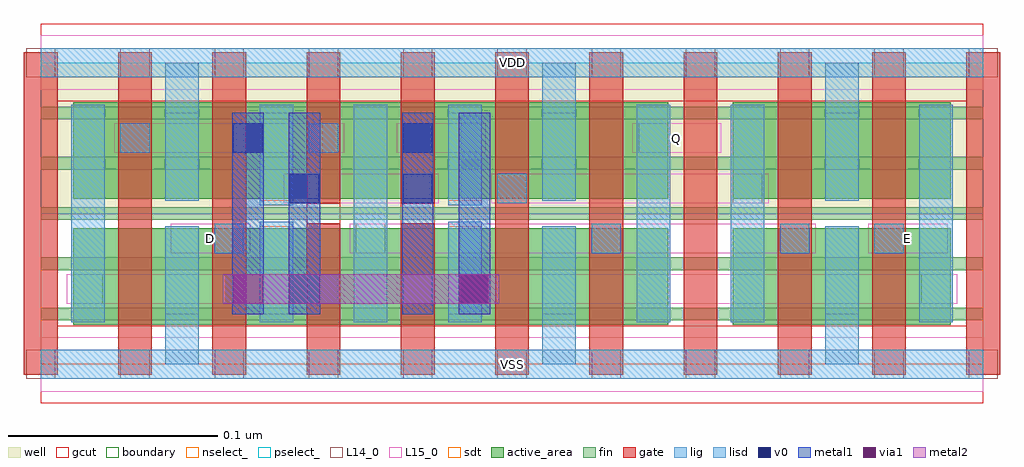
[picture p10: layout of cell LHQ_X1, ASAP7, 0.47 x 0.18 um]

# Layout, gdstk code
import gdstk
lib = gdstk.Library(unit=1e-6, precision=2.5e-10)
def R(c, l, rs):  # rectangles x0, y0, x1, y1
    for r in rs: c.add(gdstk.rectangle(r[:2], r[2:], *l))
def A(c, l, x, y, w, h, nx, ny, dx, dy):  # array of equal rectangles
    R(c, l, [(x+i*dx, y+j*dy, x+i*dx+w, y+j*dy+h) for i in range(nx) for j in range(ny)])
well = (1, 0)
fin = (2, 0)
gate = (7, 0)
gcut = (10, 0)
active_area = (11, 0)
nselect_ = (12, 0)
pselect_ = (13, 0)
L14_0 = (14, 0)
L15_0 = (15, 0)
lig = (16, 0)
lisd = (17, 0)
v0 = (18, 0)
metal1 = (19, 0)
metal2 = (20, 0)
via1 = (21, 0)
sdt = (88, 0)
boundary = (100, 0)

lhq_x1 = lib.new_cell('LHQ_X1')
R(lhq_x1, well, [(0,0.072,0.45,0.144)])
A(lhq_x1, fin, 0, 0.021, 0.45, 0.006, 1, 5, 0, 0.024)
A(lhq_x1, gate, -0.008, -0.005, 0.016, 0.154, 3, 1, 0.045, 0)
A(lhq_x1, gate, 0.217, -0.005, 0.016, 0.154, 6, 1, 0.045, 0)
R(lhq_x1, gate, [(0.127,-0.005,0.143,0.067), (0.172,-0.005,0.188,0.067), (0.127,0.077,0.143,0.149), (0.172,0.077,0.188,0.149)])
R(lhq_x1, gcut, [(0,-0.0185,0.45,0.0185), (-0.008,-0.005,0.008,0.149), (0.442,-0.005,0.458,0.149), (0.127,0.067,0.143,0.077), (0.172,0.067,0.188,0.077), (0,0.1255,0.45,0.1625)])
A(lhq_x1, active_area, 0.0155, 0.019, 0.059, 0.046, 6, 2, 0.045, 0.06)
R(lhq_x1, active_area, [(0.3305,0.019,0.3895,0.065), (0.3755,0.019,0.4345,0.065), (0.3305,0.079,0.3895,0.125), (0.3755,0.079,0.4345,0.125)])
R(lhq_x1, nselect_, [(0,0,0.45,0.072)])
R(lhq_x1, pselect_, [(0,0.072,0.45,0.144)])
A(lhq_x1, L14_0, -0.007, -0.007, 0.014, 0.014, 11, 2, 0.045, 0.144)
R(lhq_x1, L14_0, [(0.0155,0.029,0.0295,0.043), (0.128,0.029,0.142,0.043), (0.173,0.029,0.187,0.043), (0.4205,0.029,0.4345,0.043), (0.083,0.053,0.097,0.067), (0.1505,0.053,0.1645,0.067), (0.263,0.053,0.277,0.067), (0.353,0.053,0.367,0.067), (0.398,0.053,0.412,0.067), (0.218,0.077,0.232,0.091), (0.3305,0.077,0.3445,0.091), (0.038,0.101,0.052,0.115), (0.128,0.101,0.142,0.115), (0.173,0.101,0.187,0.115), (0.2855,0.101,0.2995,0.115)])
R(lhq_x1, L15_0, [(0,-0.013,0.45,0.013), (0.0125,0.029,0.145,0.043), (0.17,0.029,0.4375,0.043), (0.062,0.053,0.1,0.067), (0.1475,0.053,0.37,0.067), (0.395,0.053,0.433,0.067), (0.116,0.077,0.19,0.091), (0.215,0.077,0.3475,0.091), (0.035,0.101,0.145,0.115), (0.17,0.101,0.2125,0.115), (0.2825,0.101,0.325,0.115), (0,0.131,0.45,0.157)])
R(lhq_x1, lig, [(0,-0.007,0.45,0.007), (0.128,0.029,0.142,0.043), (0.173,0.029,0.187,0.043), (0.083,0.053,0.097,0.067), (0.263,0.053,0.277,0.067), (0.353,0.053,0.367,0.067), (0.398,0.053,0.412,0.067), (0.218,0.077,0.232,0.091), (0.038,0.101,0.052,0.115), (0.128,0.101,0.142,0.115), (0.173,0.101,0.187,0.115), (0,0.137,0.45,0.151)])
R(lhq_x1, lisd, [(0.0595,0,0.0755,0.066), (0.0595,0,0.0755,0.066), (0.2395,0,0.2555,0.066), (0.2395,0,0.2555,0.066), (0.3745,0,0.3905,0.066), (0.3745,0,0.3905,0.066), (0.0145,0.02,0.0305,0.124), (0.1045,0.02,0.1205,0.068), (0.1045,0.02,0.1205,0.068), (0.1495,0.02,0.1655,0.124), (0.1495,0.02,0.1655,0.124), (0.1945,0.02,0.2105,0.068), (0.1945,0.02,0.2105,0.068), (0.2845,0.02,0.3005,0.124), (0.3295,0.02,0.3455,0.124), (0.4195,0.02,0.4355,0.124), (0.1045,0.076,0.1205,0.124), (0.1045,0.076,0.1205,0.124), (0.1945,0.076,0.2105,0.124), (0.1945,0.076,0.2105,0.124), (0.0595,0.078,0.0755,0.144), (0.0595,0.078,0.0755,0.144), (0.2395,0.078,0.2555,0.144), (0.2395,0.078,0.2555,0.144), (0.3745,0.078,0.3905,0.144), (0.3745,0.078,0.3905,0.144)])
R(lhq_x1, v0, [(0.119,0.029,0.133,0.043), (0.2,0.029,0.214,0.043), (0.119,0.077,0.133,0.091), (0.173,0.077,0.187,0.091), (0.092,0.101,0.106,0.115), (0.173,0.101,0.187,0.115)])
R(lhq_x1, metal1, [(0.0915,0.024,0.1065,0.12), (0.1185,0.024,0.1335,0.12), (0.1725,0.024,0.1875,0.12), (0.1995,0.024,0.2145,0.12)])
R(lhq_x1, metal2, [(0.087,0.029,0.219,0.043)])
R(lhq_x1, via1, [(0.092,0.029,0.106,0.043), (0.2,0.029,0.214,0.043)])
R(lhq_x1, sdt, [(0.0145,0.02,0.0305,0.124), (0.1495,0.02,0.1655,0.124), (0.1495,0.02,0.1655,0.124), (0.2845,0.02,0.3005,0.124), (0.3295,0.02,0.3455,0.124), (0.4195,0.02,0.4355,0.124), (0.0595,0.024,0.0755,0.066), (0.0595,0.024,0.0755,0.066), (0.1045,0.024,0.1205,0.066), (0.1045,0.024,0.1205,0.066), (0.1945,0.024,0.2105,0.066), (0.1945,0.024,0.2105,0.066), (0.2395,0.024,0.2555,0.066), (0.2395,0.024,0.2555,0.066), (0.3745,0.024,0.3905,0.066), (0.3745,0.024,0.3905,0.066), (0.0595,0.078,0.0755,0.12), (0.0595,0.078,0.0755,0.12), (0.1045,0.078,0.1205,0.12), (0.1045,0.078,0.1205,0.12), (0.1945,0.078,0.2105,0.12), (0.1945,0.078,0.2105,0.12), (0.2395,0.078,0.2555,0.12), (0.2395,0.078,0.2555,0.12), (0.3745,0.078,0.3905,0.12), (0.3745,0.078,0.3905,0.12)])
R(lhq_x1, boundary, [(0,0,0.45,0.144)])
lhq_x1.add(gdstk.Label('VDD', (0.225,0.144), layer=1, texttype=251))
lhq_x1.add(gdstk.Label('VSS', (0.225,0), layer=3, texttype=251))
lhq_x1.add(gdstk.Label('D', (0.081,0.06), layer=15, texttype=251))
lhq_x1.add(gdstk.Label('Q', (0.3038,0.108), layer=15, texttype=251))
lhq_x1.add(gdstk.Label('E', (0.414,0.06), layer=15, texttype=251))
lhq_x1.add(gdstk.Label('VSS', (0.225,0), layer=15, texttype=251))
lhq_x1.add(gdstk.Label('VDD', (0.225,0.144), layer=15, texttype=251))

lib.write_gds('LHQ_X1.gds')
